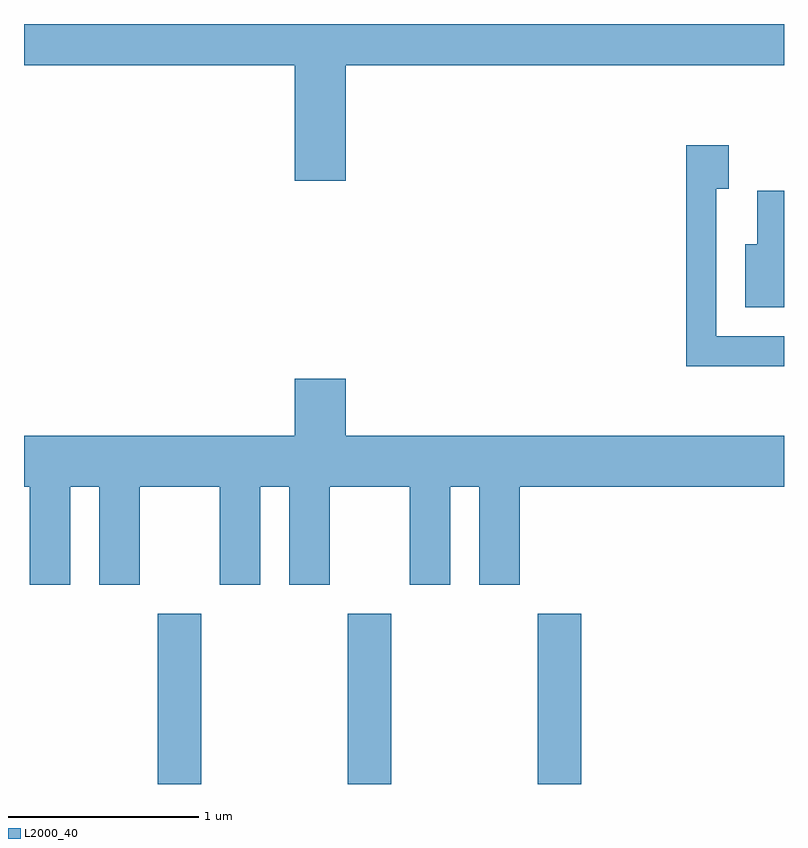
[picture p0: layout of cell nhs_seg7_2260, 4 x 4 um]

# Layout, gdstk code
import gdstk
lib = gdstk.Library(unit=1e-6, precision=1e-09)
def R(c, l, rs):  # rectangles x0, y0, x1, y1
    for r in rs: c.add(gdstk.rectangle(r[:2], r[2:], *l))
def A(c, l, x, y, w, h, nx, ny, dx, dy):  # array of equal rectangles
    R(c, l, [(x+i*dx, y+j*dy, x+i*dx+w, y+j*dy+h) for i in range(nx) for j in range(ny)])
def P(c, l, *ps):  # polygons
    for p in ps: c.add(gdstk.Polygon(p, *l))
L2000_40 = (2000, 40)

nhs_seg7_2260 = lib.new_cell('nhs_seg7_2260')
A(nhs_seg7_2260, L2000_40, 254.316, 1768.252, 0.228, 0.897, 3, 1, 1, 0)
P(nhs_seg7_2260, L2000_40, [(255.304,1772.036),(257.611,1772.036),(257.611,1772.252),(253.611,1772.252),(253.611,1772.036),(255.036,1772.036),(255.036,1771.426),(255.304,1771.426)],
  [(257.611,1770.609),(257.254,1770.609),(257.254,1771.386),(257.319,1771.386),(257.319,1771.614),(257.096,1771.614),(257.096,1770.451),(257.611,1770.451)],
  [(257.611,1771.374),(257.471,1771.374),(257.471,1771.094),(257.406,1771.094),(257.406,1770.761),(257.611,1770.761)],
  [(253.854,1769.816),(254.006,1769.816),(254.006,1769.301),(254.219,1769.301),(254.219,1769.816),(254.641,1769.816),(254.641,1769.301),(254.854,1769.301),(254.854,1769.816),(255.006,1769.816),(255.006,1769.301),(255.219,1769.301),(255.219,1769.816),(255.641,1769.816),(255.641,1769.301),(255.854,1769.301),(255.854,1769.816),(256.006,1769.816),(256.006,1769.301),(256.219,1769.301),(256.219,1769.816),(257.611,1769.816),(257.611,1770.084),(255.304,1770.084),(255.304,1770.384),(255.036,1770.384),(255.036,1770.084),(253.611,1770.084),(253.611,1769.816),(253.641,1769.816),(253.641,1769.301),(253.854,1769.301)])

lib.write_gds('nhs_seg7_2260.gds')
